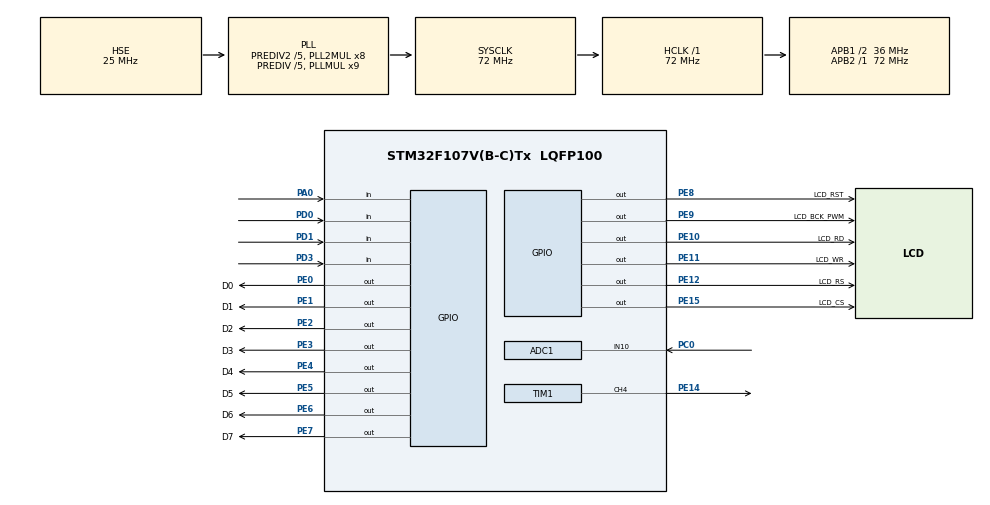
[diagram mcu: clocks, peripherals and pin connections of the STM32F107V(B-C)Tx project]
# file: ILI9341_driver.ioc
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ADC1.Channel-0\#ChannelRegularConversion=ADC_CHANNEL_10
ADC1.NbrOfConversionFlag=1
ADC1.Rank-0\#ChannelRegularConversion=1
ADC1.SamplingTime-0\#ChannelRegularConversion=ADC_SAMPLETIME_1CYCLE_5
ADC1.master=1
Mcu.Family=STM32F1
Mcu.Name=STM32F107V(B-C)Tx
Mcu.Package=LQFP100
NVIC.PriorityGroup=NVIC_PRIORITYGROUP_4
OSC_IN.Mode=HSE-External-Oscillator
OSC_IN.Signal=RCC_OSC_IN
OSC_OUT.Mode=HSE-External-Oscillator
OSC_OUT.Signal=RCC_OSC_OUT
PA0-WKUP.Signal=GPIO_Input
PA13.Mode=Serial_Wire
PA13.Signal=SYS_JTMS-SWDIO
PA14.Mode=Serial_Wire
PA14.Signal=SYS_JTCK-SWCLK
PC0.Signal=ADCx_IN10
PD0.Signal=GPIO_Input
PD1.Signal=GPIO_Input
PD3.Signal=GPIO_Input
PE0.GPIO_Label=D0
PE0.GPIO_ModeDefaultOutputPP=GPIO_MODE_OUTPUT_PP
PE0.GPIO_Speed=GPIO_SPEED_FREQ_LOW
PE0.PinState=GPIO_PIN_SET
PE0.Signal=GPIO_Output
PE1.GPIO_Label=D1
PE1.GPIO_ModeDefaultOutputPP=GPIO_MODE_OUTPUT_PP
PE1.GPIO_Speed=GPIO_SPEED_FREQ_LOW
PE1.PinState=GPIO_PIN_SET
PE1.Signal=GPIO_Output
PE10.GPIO_Label=LCD_RD
PE10.GPIO_ModeDefaultOutputPP=GPIO_MODE_OUTPUT_PP
PE10.GPIO_Speed=GPIO_SPEED_FREQ_LOW
PE10.PinState=GPIO_PIN_SET
PE10.Signal=GPIO_Output
PE11.GPIO_Label=LCD_WR
PE11.GPIO_ModeDefaultOutputPP=GPIO_MODE_OUTPUT_PP
PE11.GPIO_Speed=GPIO_SPEED_FREQ_LOW
PE11.PinState=GPIO_PIN_SET
PE11.Signal=GPIO_Output
PE12.GPIO_Label=LCD_RS
PE12.GPIO_ModeDefaultOutputPP=GPIO_MODE_OUTPUT_PP
PE12.GPIO_Speed=GPIO_SPEED_FREQ_LOW
PE12.PinState=GPIO_PIN_SET
PE12.Signal=GPIO_Output
PE14.Signal=S_TIM1_CH4
PE15.GPIO_Label=LCD_CS
PE15.GPIO_ModeDefaultOutputPP=GPIO_MODE_OUTPUT_PP
PE15.GPIO_Speed=GPIO_SPEED_FREQ_LOW
PE15.PinState=GPIO_PIN_SET
PE15.Signal=GPIO_Output
PE2.GPIO_Label=D2
PE2.GPIO_ModeDefaultOutputPP=GPIO_MODE_OUTPUT_PP
PE2.GPIO_Speed=GPIO_SPEED_FREQ_LOW
PE2.PinState=GPIO_PIN_SET
PE2.Signal=GPIO_Output
PE3.GPIO_Label=D3
PE3.GPIO_ModeDefaultOutputPP=GPIO_MODE_OUTPUT_PP
PE3.GPIO_Speed=GPIO_SPEED_FREQ_LOW
PE3.PinState=GPIO_PIN_SET
PE3.Signal=GPIO_Output
PE4.GPIO_Label=D4
PE4.GPIO_ModeDefaultOutputPP=GPIO_MODE_OUTPUT_PP
PE4.GPIO_Speed=GPIO_SPEED_FREQ_LOW
PE4.PinState=GPIO_PIN_SET
PE4.Signal=GPIO_Output
PE5.GPIO_Label=D5
PE5.GPIO_ModeDefaultOutputPP=GPIO_MODE_OUTPUT_PP
PE5.GPIO_Speed=GPIO_SPEED_FREQ_LOW
PE5.PinState=GPIO_PIN_SET
PE5.Signal=GPIO_Output
PE6.GPIO_Label=D6
PE6.GPIO_ModeDefaultOutputPP=GPIO_MODE_OUTPUT_PP
PE6.GPIO_Speed=GPIO_SPEED_FREQ_LOW
PE6.PinState=GPIO_PIN_SET
PE6.Signal=GPIO_Output
PE7.GPIO_Label=D7
PE7.GPIO_ModeDefaultOutputPP=GPIO_MODE_OUTPUT_PP
PE7.GPIO_Speed=GPIO_SPEED_FREQ_LOW
PE7.PinState=GPIO_PIN_SET
PE7.Signal=GPIO_Output
PE8.GPIO_Label=LCD_RST
PE8.GPIO_ModeDefaultOutputPP=GPIO_MODE_OUTPUT_PP
PE8.GPIO_Speed=GPIO_SPEED_FREQ_LOW
PE8.PinState=GPIO_PIN_SET
PE8.Signal=GPIO_Output
PE9.GPIO_Label=LCD_BCK_PWM
PE9.GPIO_ModeDefaultOutputPP=GPIO_MODE_OUTPUT_PP
PE9.GPIO_Speed=GPIO_SPEED_FREQ_LOW
PE9.PinState=GPIO_PIN_SET
PE9.Signal=GPIO_Output
ProjectManager.HeapSize=0x200
ProjectManager.StackSize=0x400
ProjectManager.TargetToolchain=MDK-ARM V5
RCC.ADCPresc=RCC_ADCPCLK2_DIV6
RCC.AHBFreq_Value=72000000
RCC.APB1CLKDivider=RCC_HCLK_DIV2
RCC.APB1Freq_Value=36000000
RCC.APB1TimFreq_Value=72000000
RCC.APB2Freq_Value=72000000
RCC.APB2TimFreq_Value=72000000
RCC.HCLKFreq_Value=72000000
RCC.HSEDivPLL=RCC_HSE_PREDIV_DIV5
RCC.HSE_VALUE=25000000
RCC.PLLMUL=RCC_PLL_MUL9
RCC.PLLSourceVirtual=RCC_PLLSOURCE_HSE
RCC.Prediv1Source=RCC_PREDIV1_SOURCE_PLL2
RCC.Prediv2=RCC_HSE_PREDIV2_DIV5
RCC.SYSCLKFreq_VALUE=72000000
RCC.SYSCLKSource=RCC_SYSCLKSOURCE_PLLCLK
RCC.USBFreq_Value=48000000
SH.ADCx_IN10.0=ADC1_IN10,IN10
SH.S_TIM1_CH4.0=TIM1_CH4,PWM Generation4 CH4
TIM1.Channel-PWM\ Generation4\ CH4=TIM_CHANNEL_4
TIM1.Period=10999
TIM1.Prescaler=1
VP_TIM1_VS_ClockSourceINT.Mode=Internal
board=ILI9341_driver

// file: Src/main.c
/**
  ******************************************************************************
  * @file           : main.c
  * @brief          : Main program body
  ******************************************************************************
  ** This notice applies to any and all portions of this file
  * that are not between comment pairs USER CODE BEGIN and
  * USER CODE END. Other portions of this file, whether
  * inserted by the user or by software development tools
  * are owned by their respective copyright owners.
  *
  * COPYRIGHT(c) 2020 STMicroelectronics
  *
  * Redistribution and use in source and binary forms, with or without modification,
  * are permitted provided that the following conditions are met:
  *   1. Redistributions of source code must retain the above copyright notice,
  *      this list of conditions and the following disclaimer.
  *   2. Redistributions in binary form must reproduce the above copyright notice,
  *      this list of conditions and the following disclaimer in the documentation
  *      and/or other materials provided with the distribution.
  *   3. Neither the name of STMicroelectronics nor the names of its contributors
  *      may be used to endorse or promote products derived from this software
  *      without specific prior written permission.
  *
  * THIS SOFTWARE IS PROVIDED BY THE COPYRIGHT HOLDERS AND CONTRIBUTORS "AS IS"
  * AND ANY EXPRESS OR IMPLIED WARRANTIES, INCLUDING, BUT NOT LIMITED TO, THE
  * IMPLIED WARRANTIES OF MERCHANTABILITY AND FITNESS FOR A PARTICULAR PURPOSE ARE
  * DISCLAIMED. IN NO EVENT SHALL THE COPYRIGHT HOLDER OR CONTRIBUTORS BE LIABLE
  * FOR ANY DIRECT, INDIRECT, INCIDENTAL, SPECIAL, EXEMPLARY, OR CONSEQUENTIAL
  * DAMAGES (INCLUDING, BUT NOT LIMITED TO, PROCUREMENT OF SUBSTITUTE GOODS OR
  * SERVICES; LOSS OF USE, DATA, OR PROFITS; OR BUSINESS INTERRUPTION) HOWEVER
  * CAUSED AND ON ANY THEORY OF LIABILITY, WHETHER IN CONTRACT, STRICT LIABILITY,
  * OR TORT (INCLUDING NEGLIGENCE OR OTHERWISE) ARISING IN ANY WAY OUT OF THE USE
  * OF THIS SOFTWARE, EVEN IF ADVISED OF THE POSSIBILITY OF SUCH DAMAGE.
  *
  ******************************************************************************
  */
#include "main.h"
#include "stm32f1xx_hal.h"

/* USER CODE BEGIN Includes */
#include "ILI9341_STM32_Driver.h"
#include "ILI9341_GFX.h"
#include "snow_tiger.h"
#include "stdlib.h"
/* USER CODE END Includes */

ADC_HandleTypeDef hadc1;

TIM_HandleTypeDef htim1;

/* USER CODE BEGIN PV */
/* Private variables ---------------------------------------------------------*/

/* USER CODE END PV */

void SystemClock_Config(void);
static void MX_GPIO_Init(void);
static void MX_ADC1_Init(void);
static void MX_TIM1_Init(void);

void HAL_TIM_MspPostInit(TIM_HandleTypeDef *htim);

/* USER CODE BEGIN PFP */
/* Private function prototypes -----------------------------------------------*/

/* USER CODE END PFP */

/* USER CODE BEGIN 0 */

// Programdaki variable degerleri
uint8_t sesion=0;
uint8_t minute=2;
uint8_t second=11;
uint16_t breakk=20;

/* USER CODE END 0 */

int main(void)
{

  /* MCU Configuration----------------------------------------------------------*/

  /* Reset of all peripherals, Initializes the Flash interface and the Systick. */
  HAL_Init();

  /* Configure the system clock */
  SystemClock_Config();

  /* Initialize all configured peripherals */
  MX_GPIO_Init();
  MX_ADC1_Init();
  MX_TIM1_Init();
  /* USER CODE BEGIN 2 */

ILI9341_Init();
HAL_TIM_PWM_Start(&htim1, TIM_CHANNEL_4);// Buzzer in çalismasi için pwm timeri çalistirma kodu

  /* USER CODE END 2 */

  /* Infinite loop */
  /* USER CODE BEGIN WHILE */

	uint32_t adcReturnValue = 0; // Adc degeri atama

	char Temp_Buffer_text[40];// Ekrana yazi yazdirmak için bir karakter arrayi olusturuyoruz.

	// Program Baslatildigindaki karsilama yazisi
	srand(234);
	ILI9341_Fill_Screen(BLUE);
	ILI9341_Draw_Text("WELCOME TO", 10, 10, BLACK, 4, RED);
	ILI9341_Draw_Text("POMODORO", 10, 80, WHITE,4, RED);
	ILI9341_Draw_Text("TECNIC", 10, 150, WHITE, 4, RED);

	HAL_Delay(5000);
  while (1)
  {

	// Program basladiktan sonra ayarlari degistirme hakkinda bilgiler
	ILI9341_Fill_Screen(BLUE);
  ILI9341_Draw_Text("PRESS PA0", 10, 10, BLACK, 4, RED);
	ILI9341_Draw_Text("CHANGE", 10, 70, WHITE, 4, RED);
	ILI9341_Draw_Text("SETTINGS", 10, 120, WHITE, 4, RED);
	sprintf(Temp_Buffer_text, "SESION:%d", sesion);
	ILI9341_Draw_Text(Temp_Buffer_text, 10, 180, BLACK, 5, WHITE);
	HAL_Delay(2000);
  /* USER CODE END WHILE */

  /* USER CODE BEGIN 3 */

		ILI9341_Fill_Screen(WHITE);

// PA0 pinine basinca seyans degerlerini degistirebiliyoruz
	while(HAL_GPIO_ReadPin(GPIOA,GPIO_PIN_0))	{
	if(HAL_GPIO_ReadPin(GPIOD,GPIO_PIN_0)){// PD0 pininne basinca seyans degeri artiyor
		if(sesion<255){
			sesion++;
		}
	}
if(HAL_GPIO_ReadPin(GPIOD,GPIO_PIN_1)){// PD1 pininne basinca seyans degeri azaliyor
	    if(sesion>0){
			sesion--;
		}
	}
HAL_Delay(1000);
	   // Seyans Degerini degistirmek için ekrandaki bilgi yazisi
		sprintf(Temp_Buffer_text, "SESION:%d", sesion);
		ILI9341_Draw_Text(Temp_Buffer_text, 10, 10, BLACK, 5, WHITE);
	  ILI9341_Draw_Text("PRESS PD0", 10, 80, BLACK, 4, WHITE);
	  ILI9341_Draw_Text("TO INCREASE", 10, 120, BLACK, 4, WHITE);
	  ILI9341_Draw_Text("PRESS PD1", 10, 160, BLACK, 4, WHITE);
	  ILI9341_Draw_Text("TO DECREASE", 10, 200, BLACK, 4, WHITE);
	}

ILI9341_Fill_Screen(WHITE);

  ILI9341_Draw_Text("PRESS PD3", 10, 10, BLACK, 4, RED);
	ILI9341_Draw_Text("TO START", 10, 70, WHITE, 4, BLACK);
	ILI9341_Draw_Text("PROGRAM", 10, 120, WHITE, 4, BLACK);
	sprintf(Temp_Buffer_text, "SESION:%d", sesion);
	ILI9341_Draw_Text(Temp_Buffer_text, 10, 180, BLACK, 5, WHITE);
	HAL_Delay(2000);

	if(HAL_GPIO_ReadPin(GPIOD,GPIO_PIN_3)){	// PD3 pinine basinca programimiz çalisiyor

while(sesion>0){

while(minute>0){
ILI9341_Fill_Screen(WHITE);
while(second>0){
	// Ekrandaki seyans dakika ve saniye degerleri
		sprintf(Temp_Buffer_text, "SESION:%d", sesion);
		ILI9341_Draw_Text(Temp_Buffer_text, 10, 10, BLACK, 5, WHITE);

sprintf(Temp_Buffer_text, "Minute:%02d", minute);
  ILI9341_Draw_Text(Temp_Buffer_text, 10, 80, BLACK, 5, WHITE);

	sprintf(Temp_Buffer_text, "SECOND:%02d", second);
  ILI9341_Draw_Text(Temp_Buffer_text, 10, 150, BLACK, 5, WHITE);
	second--;
	HAL_Delay(1000);
}
second=11;
minute--;
}
minute=2;
sesion--;
}
sesion=0;
minute=0;
second=0;

HAL_Delay(1000);
ILI9341_Fill_Screen(WHITE);

sprintf(Temp_Buffer_text, "SESION:%d", sesion);
		ILI9341_Draw_Text(Temp_Buffer_text, 10, 10, BLACK, 5, WHITE);

  sprintf(Temp_Buffer_text, "Minute:%02d", minute);
  ILI9341_Draw_Text(Temp_Buffer_text, 10, 80, BLACK, 5, WHITE);

	sprintf(Temp_Buffer_text, "SECOND:%02d", second);
  ILI9341_Draw_Text(Temp_Buffer_text, 10, 150, BLACK, 5, WHITE);
ILI9341_Fill_Screen(BLUE);
HAL_Delay(1000);

// Seyanslar bitince ekrana yazilan bilgiler
ILI9341_Draw_Text("FINISHED", 10, 10, BLACK, 5, WHITE);
ILI9341_Draw_Text("WEEL DONE", 10, 100, BLACK, 5, WHITE);
ILI9341_Draw_Text("GREAT", 10, 150, BLACK, 5, WHITE);
ILI9341_Draw_Text("WORK", 10, 200, BLACK, 5, WHITE);
HAL_Delay(2000);

ILI9341_Fill_Screen(RED);
minute=2;
second=11;

//  Dinlenme bilgilerini içeren kod parçasi
while(breakk>0){
	sprintf(Temp_Buffer_text, "%02d", breakk);
  ILI9341_Draw_Text(Temp_Buffer_text, 100, 80, BLACK, 10, WHITE);
	breakk--;
	HAL_ADC_Start(&hadc1);
	// Adc degerinin degistirerek buzzerin çalisip çalismamasini kontrol etme
	if ( HAL_ADC_PollForConversion(&hadc1,1000) == HAL_OK){
			adcReturnValue = HAL_ADC_GetValue(&hadc1);
		 if(adcReturnValue<2048){

		for(int i=0;i<1;i++){
	  	for(int j=0;j<1;j++){
	  	TIM1->CCR4 = 20000;
	    TIM1->ARR=30000;
	    HAL_Delay(400);
	  	TIM1->CCR4 = 20000;
	    TIM1->ARR=5000;
	  	HAL_Delay(400);

	  	}

	  	HAL_Delay(200);

	  }

	  }
	else
		 if(adcReturnValue<4096){
			 for(int i=0;i<1;i++){
	  	for(int j=0;j<1;j++){
	  	TIM1->CCR4 = 20000;
	    TIM1->ARR=0;

	  	TIM1->CCR4 = 0;
	    TIM1->ARR=5000;

	  	}

	   HAL_Delay(1000);

	  }
		 }
		HAL_ADC_Stop(&hadc1);
    /* USER CODE END WHILE */

    /* USER CODE BEGIN 3 */
  }

}

breakk=20;// Break degerini tekrar 20 ye getiriyoruz diger seanslarda kullanmak için

}

		}

  }
  /* USER CODE END 3 */

void SystemClock_Config(void)
{

  RCC_OscInitTypeDef RCC_OscInitStruct;
  RCC_ClkInitTypeDef RCC_ClkInitStruct;
  RCC_PeriphCLKInitTypeDef PeriphClkInit;

    /**Initializes the CPU, AHB and APB busses clocks
    */
  RCC_OscInitStruct.OscillatorType = RCC_OSCILLATORTYPE_HSE;
  RCC_OscInitStruct.HSEState = RCC_HSE_ON;
  RCC_OscInitStruct.HSEPredivValue = RCC_HSE_PREDIV_DIV5;
  RCC_OscInitStruct.HSIState = RCC_HSI_ON;
  RCC_OscInitStruct.Prediv1Source = RCC_PREDIV1_SOURCE_PLL2;
  RCC_OscInitStruct.PLL.PLLState = RCC_PLL_ON;
  RCC_OscInitStruct.PLL.PLLSource = RCC_PLLSOURCE_HSE;
  RCC_OscInitStruct.PLL.PLLMUL = RCC_PLL_MUL9;
  RCC_OscInitStruct.PLL2.PLL2State = RCC_PLL2_ON;
  RCC_OscInitStruct.PLL2.PLL2MUL = RCC_PLL2_MUL8;
  RCC_OscInitStruct.PLL2.HSEPrediv2Value = RCC_HSE_PREDIV2_DIV5;
  if (HAL_RCC_OscConfig(&RCC_OscInitStruct) != HAL_OK)
  {
    _Error_Handler(__FILE__, __LINE__);
  }

    /**Initializes the CPU, AHB and APB busses clocks
    */
  RCC_ClkInitStruct.ClockType = RCC_CLOCKTYPE_HCLK|RCC_CLOCKTYPE_SYSCLK
                              |RCC_CLOCKTYPE_PCLK1|RCC_CLOCKTYPE_PCLK2;
  RCC_ClkInitStruct.SYSCLKSource = RCC_SYSCLKSOURCE_PLLCLK;
  RCC_ClkInitStruct.AHBCLKDivider = RCC_SYSCLK_DIV1;
  RCC_ClkInitStruct.APB1CLKDivider = RCC_HCLK_DIV2;
  RCC_ClkInitStruct.APB2CLKDivider = RCC_HCLK_DIV1;

  if (HAL_RCC_ClockConfig(&RCC_ClkInitStruct, FLASH_LATENCY_2) != HAL_OK)
  {
    _Error_Handler(__FILE__, __LINE__);
  }

  PeriphClkInit.PeriphClockSelection = RCC_PERIPHCLK_ADC;
  PeriphClkInit.AdcClockSelection = RCC_ADCPCLK2_DIV6;
  if (HAL_RCCEx_PeriphCLKConfig(&PeriphClkInit) != HAL_OK)
  {
    _Error_Handler(__FILE__, __LINE__);
  }

    /**Configure the Systick interrupt time
    */
  HAL_SYSTICK_Config(HAL_RCC_GetHCLKFreq()/1000);

    /**Configure the Systick
    */
  HAL_SYSTICK_CLKSourceConfig(SYSTICK_CLKSOURCE_HCLK);

    /**Configure the Systick interrupt time
    */
  __HAL_RCC_PLLI2S_ENABLE();

  /* SysTick_IRQn interrupt configuration */
  HAL_NVIC_SetPriority(SysTick_IRQn, 0, 0);
}

/* ADC1 init function */
static void MX_ADC1_Init(void)
{

  ADC_ChannelConfTypeDef sConfig;

    /**Common config
    */
  hadc1.Instance = ADC1;
  hadc1.Init.ScanConvMode = ADC_SCAN_DISABLE;
  hadc1.Init.ContinuousConvMode = DISABLE;
  hadc1.Init.DiscontinuousConvMode = DISABLE;
  hadc1.Init.ExternalTrigConv = ADC_SOFTWARE_START;
  hadc1.Init.DataAlign = ADC_DATAALIGN_RIGHT;
  hadc1.Init.NbrOfConversion = 1;
  if (HAL_ADC_Init(&hadc1) != HAL_OK)
  {
    _Error_Handler(__FILE__, __LINE__);
  }

    /**Configure Regular Channel
    */
  sConfig.Channel = ADC_CHANNEL_10;
  sConfig.Rank = ADC_REGULAR_RANK_1;
  sConfig.SamplingTime = ADC_SAMPLETIME_1CYCLE_5;
  if (HAL_ADC_ConfigChannel(&hadc1, &sConfig) != HAL_OK)
  {
    _Error_Handler(__FILE__, __LINE__);
  }

}

/* TIM1 init function */
static void MX_TIM1_Init(void)
{

  TIM_ClockConfigTypeDef sClockSourceConfig;
  TIM_MasterConfigTypeDef sMasterConfig;
  TIM_OC_InitTypeDef sConfigOC;
  TIM_BreakDeadTimeConfigTypeDef sBreakDeadTimeConfig;

  htim1.Instance = TIM1;
  htim1.Init.Prescaler = 1;
  htim1.Init.CounterMode = TIM_COUNTERMODE_UP;
  htim1.Init.Period = 10999;
  htim1.Init.ClockDivision = TIM_CLOCKDIVISION_DIV1;
  htim1.Init.RepetitionCounter = 0;
  htim1.Init.AutoReloadPreload = TIM_AUTORELOAD_PRELOAD_DISABLE;
  if (HAL_TIM_Base_Init(&htim1) != HAL_OK)
  {
    _Error_Handler(__FILE__, __LINE__);
  }

  sClockSourceConfig.ClockSource = TIM_CLOCKSOURCE_INTERNAL;
  if (HAL_TIM_ConfigClockSource(&htim1, &sClockSourceConfig) != HAL_OK)
  {
    _Error_Handler(__FILE__, __LINE__);
  }

  if (HAL_TIM_PWM_Init(&htim1) != HAL_OK)
  {
    _Error_Handler(__FILE__, __LINE__);
  }

  sMasterConfig.MasterOutputTrigger = TIM_TRGO_RESET;
  sMasterConfig.MasterSlaveMode = TIM_MASTERSLAVEMODE_DISABLE;
  if (HAL_TIMEx_MasterConfigSynchronization(&htim1, &sMasterConfig) != HAL_OK)
  {
    _Error_Handler(__FILE__, __LINE__);
  }

  sConfigOC.OCMode = TIM_OCMODE_PWM1;
  sConfigOC.Pulse = 0;
  sConfigOC.OCPolarity = TIM_OCPOLARITY_HIGH;
  sConfigOC.OCFastMode = TIM_OCFAST_DISABLE;
  sConfigOC.OCIdleState = TIM_OCIDLESTATE_RESET;
  sConfigOC.OCNIdleState = TIM_OCNIDLESTATE_RESET;
  if (HAL_TIM_PWM_ConfigChannel(&htim1, &sConfigOC, TIM_CHANNEL_4) != HAL_OK)
  {
    _Error_Handler(__FILE__, __LINE__);
  }

  sBreakDeadTimeConfig.OffStateRunMode = TIM_OSSR_DISABLE;
  sBreakDeadTimeConfig.OffStateIDLEMode = TIM_OSSI_DISABLE;
  sBreakDeadTimeConfig.LockLevel = TIM_LOCKLEVEL_OFF;
  sBreakDeadTimeConfig.DeadTime = 0;
  sBreakDeadTimeConfig.BreakState = TIM_BREAK_DISABLE;
  sBreakDeadTimeConfig.BreakPolarity = TIM_BREAKPOLARITY_HIGH;
  sBreakDeadTimeConfig.AutomaticOutput = TIM_AUTOMATICOUTPUT_DISABLE;
  if (HAL_TIMEx_ConfigBreakDeadTime(&htim1, &sBreakDeadTimeConfig) != HAL_OK)
  {
    _Error_Handler(__FILE__, __LINE__);
  }

  HAL_TIM_MspPostInit(&htim1);

}

/** Configure pins as
        * Analog
        * Input
        * Output
        * EVENT_OUT
        * EXTI
*/
static void MX_GPIO_Init(void)
{

  GPIO_InitTypeDef GPIO_InitStruct;

  /* GPIO Ports Clock Enable */
  __HAL_RCC_GPIOE_CLK_ENABLE();
  __HAL_RCC_GPIOC_CLK_ENABLE();
  __HAL_RCC_GPIOA_CLK_ENABLE();
  __HAL_RCC_GPIOD_CLK_ENABLE();

  /*Configure GPIO pin Output Level */
  HAL_GPIO_WritePin(GPIOE, D2_Pin|D3_Pin|D4_Pin|D5_Pin
                          |D6_Pin|D7_Pin|LCD_RST_Pin|LCD_BCK_PWM_Pin
                          |LCD_RD_Pin|LCD_WR_Pin|LCD_RS_Pin|LCD_CS_Pin
                          |D0_Pin|D1_Pin, GPIO_PIN_SET);

  /*Configure GPIO pins : D2_Pin D3_Pin D4_Pin D5_Pin
                           D6_Pin D7_Pin LCD_RST_Pin LCD_BCK_PWM_Pin
                           LCD_RD_Pin LCD_WR_Pin LCD_RS_Pin LCD_CS_Pin
                           D0_Pin D1_Pin */
  GPIO_InitStruct.Pin = D2_Pin|D3_Pin|D4_Pin|D5_Pin
                          |D6_Pin|D7_Pin|LCD_RST_Pin|LCD_BCK_PWM_Pin
                          |LCD_RD_Pin|LCD_WR_Pin|LCD_RS_Pin|LCD_CS_Pin
                          |D0_Pin|D1_Pin;
  GPIO_InitStruct.Mode = GPIO_MODE_OUTPUT_PP;
  GPIO_InitStruct.Speed = GPIO_SPEED_FREQ_LOW;
  HAL_GPIO_Init(GPIOE, &GPIO_InitStruct);

  /*Configure GPIO pin : PA0 */
  GPIO_InitStruct.Pin = GPIO_PIN_0;
  GPIO_InitStruct.Mode = GPIO_MODE_INPUT;
  GPIO_InitStruct.Pull = GPIO_NOPULL;
  HAL_GPIO_Init(GPIOA, &GPIO_InitStruct);

  /*Configure GPIO pins : PD0 PD1 PD3 */
  GPIO_InitStruct.Pin = GPIO_PIN_0|GPIO_PIN_1|GPIO_PIN_3;
  GPIO_InitStruct.Mode = GPIO_MODE_INPUT;
  GPIO_InitStruct.Pull = GPIO_NOPULL;
  HAL_GPIO_Init(GPIOD, &GPIO_InitStruct);

}

void _Error_Handler(char *file, int line)
{
  while(1)
  {
  }
}

/************************ (C) COPYRIGHT STMicroelectronics *****END OF FILE****/
